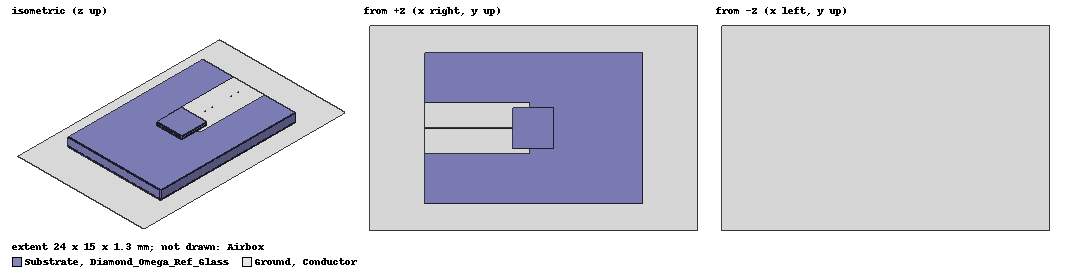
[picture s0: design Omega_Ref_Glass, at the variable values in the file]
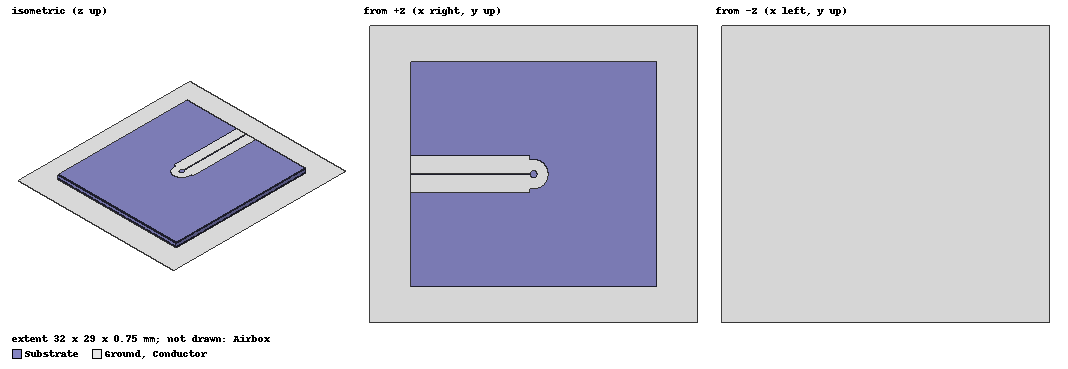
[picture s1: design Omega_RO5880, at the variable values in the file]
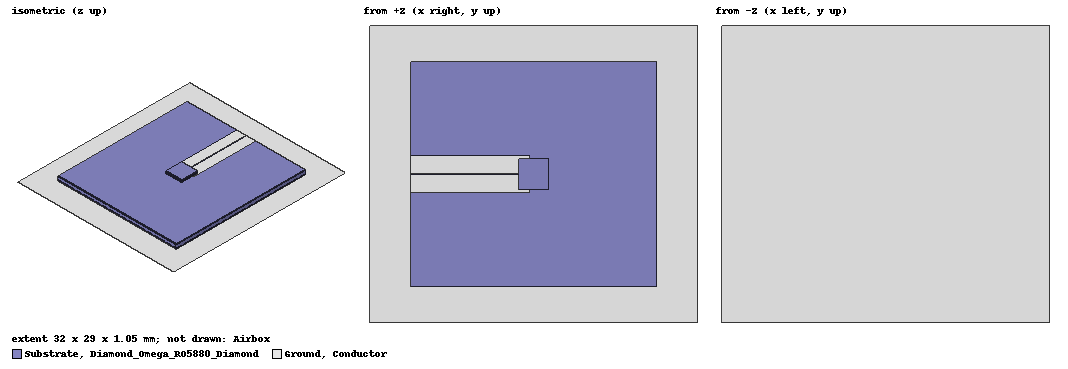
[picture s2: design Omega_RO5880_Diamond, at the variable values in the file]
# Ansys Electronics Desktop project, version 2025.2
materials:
  vacuum: permittivity=1
  sub_Omega_Ref_Glass: permittivity=4.82 permeability=1 dielectric_loss_tangent=0.005
  diamond_Omega_Ref_Glass: permittivity=5.7 permeability=1 dielectric_loss_tangent=1e-05
  air: permittivity=1.0006 permeability=1.0000004
  sub_Omega_RO5880: permittivity=2.2 permeability=1 dielectric_loss_tangent=0.0009
  sub_Omega_RO5880_Diamond: permittivity=2.2 permeability=1 dielectric_loss_tangent=0.0009
  diamond_Omega_RO5880_Diamond: permittivity=5.7 permeability=1 dielectric_loss_tangent=1e-05
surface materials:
  Steel-oxidised-surface

design Omega_Ref_Glass (HFSS, HFSS Modal Network, model units mm)
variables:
  h_sub = 1mm
  L_sub = 16mm
  W_sub = 11mm
  r_ap = 0.3mm
  r_w = 1.151mm
  g_w = 0.007mm
  f_w = 1.851mm
  airgap = 26mm
  L_gnd = 24mm
  W_gnd = 15mm
  dia_L_Omega_Ref_Glass = 3mm
  dia_W_Omega_Ref_Glass = 3mm
  dia_h_Omega_Ref_Glass = 0.3mm
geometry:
  Substrate [sub_Omega_Ref_Glass] = box(corner=(-L_sub/2, -W_sub/2, 0mm), size=(L_sub, W_sub, h_sub))
  Ground = rectangle(corner=(-L_gnd/2, -W_gnd/2, 0mm), x_size=L_gnd, y_size=W_gnd)
  Conductor = circle(normal=Z, centre=(0mm, 0mm, h_sub), radius=r_ap + r_w)
  Aperture = circle(normal=Z, centre=(0mm, 0mm, h_sub), radius=r_ap)
  Conductor.subtract(Aperture)
  Gap = rectangle(corner=(-(r_ap + r_w + 0.5mm), -g_w/2, h_sub), x_size=r_ap + r_w + 0.5mm, y_size=g_w)
  Conductor.subtract(Gap)
  Lead_top = rectangle(corner=(-L_sub/2, g_w/2, h_sub), x_size=L_sub/2 - r_ap, y_size=f_w)
  Lead_bot = rectangle(corner=(-L_sub/2, -g_w/2 - f_w, h_sub), x_size=L_sub/2 - r_ap, y_size=f_w)
  Conductor.unite(Lead_top, Lead_bot)
  Port1_sheet = rectangle(corner=(-L_sub/2, g_w/2, 0mm), y_size=f_w, z_size=h_sub)
  Port2_sheet = rectangle(corner=(-L_sub/2, -g_w/2 - f_w, 0mm), y_size=f_w, z_size=h_sub)
  Diamond_Omega_Ref_Glass [diamond_Omega_Ref_Glass] = box(corner=(-dia_L_Omega_Ref_Glass/2, -dia_W_Omega_Ref_Glass/2, h_sub), size=(dia_L_Omega_Ref_Glass, dia_W_Omega_Ref_Glass, dia_h_Omega_Ref_Glass))
  Mesh_Region_Gap [vacuum, non-model] = box(corner=(-(r_ap + r_w + 0.5mm), -(g_w/2 + 0.05mm), h_sub - 0.001mm), size=(r_ap + r_w + 0.5mm, g_w + 0.1mm, 0.001mm))
  Airbox [air] = box(corner=(-24.0mm/2-airgap, -15.0mm/2-airgap, -airgap), size=(24.0mm+2*airgap, 15.0mm+2*airgap, 3.3mm+2*airgap))
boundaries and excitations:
  PerfE_CWRVNR: Perfect E Objects=Ground
  PerfE_PH1K65: Perfect E Objects=Conductor
  Rad__8DQ7YN: Radiation Objects=Airbox
  Port1: Lumped Port Objects=Port1_sheet LumpedPortType=Modal Modes{Mode1{IntLine{(-8, 0.929, 0) -> (-8, 0.929, 1)} CharImp=Zpi RenormImp=50ohm}} Impedance=50ohm
  Port2: Lumped Port Objects=Port2_sheet LumpedPortType=Modal Modes{Mode1{IntLine{(-8, -0.929, 0) -> (-8, -0.929, 1)} CharImp=Zpi RenormImp=50ohm}} Impedance=50ohm
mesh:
  Mesh_Gap: LengthBased RefineInside Objects=Mesh_Region_Gap NumMaxElem=1000 MaxLength=g_w/3
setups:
  Setup1: HfssDriven Frequency=2.87GHz MaxDeltaS=0.02 MaximumPasses=20 MinimumPasses=1 MinimumConvergedPasses=1 PercentRefinement=30 BasisOrder=1 PortAccuracy=2 DrivenSolverType="Direct Solver"
    sweep Sweep1: 0.5GHz to 6GHz step 0.005GHz; Type=Interpolating SaveFields InterpTolerance=0.5 InterpMaxSolns=250 InterpUsePortImped=false PassivityErrorTolerance=0.0001
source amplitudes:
  Port1:1: 1W 0deg
  Port2:1: 0W 0deg

design Omega_RO5880 (HFSS, HFSS Modal Network, model units mm)
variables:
  h_sub = 0.75mm
  L_sub = 24mm
  W_sub = 22mm
  r_ap = 0.345mm
  r_w = 1.077mm  # optimise 0.5385mm..1.6155mm
  g_w = 0.15mm
  f_w = 1.7mm
  airgap = 26mm
  L_gnd = 32mm
  W_gnd = 29mm
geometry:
  Substrate [sub_Omega_RO5880] = box(corner=(-L_sub/2, -W_sub/2, 0mm), size=(L_sub, W_sub, h_sub))
  Ground = rectangle(corner=(-L_gnd/2, -W_gnd/2, 0mm), x_size=L_gnd, y_size=W_gnd)
  Conductor = circle(normal=Z, centre=(0mm, 0mm, h_sub), radius=r_ap + r_w)
  Aperture = circle(normal=Z, centre=(0mm, 0mm, h_sub), radius=r_ap)
  Conductor.subtract(Aperture)
  Gap = rectangle(corner=(-(r_ap + r_w + 0.5mm), -g_w/2, h_sub), x_size=r_ap + r_w + 0.5mm, y_size=g_w)
  Conductor.subtract(Gap)
  Lead_top = rectangle(corner=(-L_sub/2, g_w/2, h_sub), x_size=L_sub/2 - r_ap, y_size=f_w)
  Lead_bot = rectangle(corner=(-L_sub/2, -g_w/2 - f_w, h_sub), x_size=L_sub/2 - r_ap, y_size=f_w)
  Conductor.unite(Lead_top, Lead_bot)
  Port1_sheet = rectangle(corner=(-L_sub/2, g_w/2, 0mm), y_size=f_w, z_size=h_sub)
  Port2_sheet = rectangle(corner=(-L_sub/2, -g_w/2 - f_w, 0mm), y_size=f_w, z_size=h_sub)
  Mesh_Region_Gap [vacuum, non-model] = box(corner=(-(r_ap + r_w + 0.5mm), -(g_w/2 + 0.8999999999999999mm), h_sub - 0.001mm), size=(r_ap + r_w + 0.5mm, g_w + 1.7999999999999998mm, 0.001mm))
  Airbox [air] = box(corner=(-32.0mm/2-airgap, -29.0mm/2-airgap, -airgap), size=(32.0mm+2*airgap, 29.0mm+2*airgap, 2.75mm+2*airgap))
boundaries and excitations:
  PerfE_QMYNRJ: Perfect E Objects=Ground
  PerfE_H8CW3A: Perfect E Objects=Conductor
  Rad__0RP58G: Radiation Objects=Airbox
  Port1: Lumped Port Objects=Port1_sheet LumpedPortType=Modal Modes{Mode1{IntLine{(-12, 0.925, 0) -> (-12, 0.925, 0.75)} CharImp=Zpi RenormImp=50ohm}} Impedance=50ohm
  Port2: Lumped Port Objects=Port2_sheet LumpedPortType=Modal Modes{Mode1{IntLine{(-12, -0.925, 0) -> (-12, -0.925, 0.75)} CharImp=Zpi RenormImp=50ohm}} Impedance=50ohm
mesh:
  Mesh_Gap: LengthBased RefineInside Objects=Mesh_Region_Gap NumMaxElem=1000 MaxLength=g_w/3
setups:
  Setup1: HfssDriven Frequency=2.87GHz MaxDeltaS=0.02 MaximumPasses=20 MinimumPasses=1 MinimumConvergedPasses=1 PercentRefinement=30 BasisOrder=1 PortAccuracy=2 DrivenSolverType="Direct Solver"
    sweep Sweep1: 0.5GHz to 6GHz step 0.005GHz; Type=Interpolating SaveFields InterpTolerance=0.5 InterpMaxSolns=250 InterpUsePortImped=false PassivityErrorTolerance=0.0001
    sweep Sweep_Discrete_Zeeman: 2.5GHz to 3.2GHz step 0.02GHz; Type=Discrete SaveFields
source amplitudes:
  Port1:1: 1W 0deg
  Port2:1: 0W 0deg
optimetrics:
  Opt_rw_2p87GHz: Optimization Optimizer="Quasi Newton" AnalysisStopOptions{StopForNumIteration MaxNumIteration=1000 MinNumIteration=10} CostFuncNormType=L2 Acceptable_Cost=0 Noise=0.0001 UpdateDesignWhenDone
    vary r_w: Min=1.0mm Max=2.0mm MinStep=0.01mm MaxStep=0.1mm MinFocus=1.0mm MaxFocus=2.0mm start=1.2mm
    goal dB(S(Port1,Port1)) <= -40 weight 1 on Setup1 : Sweep1 at Freq 2.87GHz

design Omega_RO5880_Diamond (HFSS, HFSS Modal Network, model units mm)
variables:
  h_sub = 0.75mm
  L_sub = 24mm
  W_sub = 22mm
  r_ap = 0.345mm
  r_w = 1.077mm
  g_w = 0.15mm
  f_w = 1.7mm
  airgap = 26mm
  L_gnd = 32mm
  W_gnd = 29mm
  dia_L_Omega_RO5880_Diamond = 3mm
  dia_W_Omega_RO5880_Diamond = 3mm
  dia_h_Omega_RO5880_Diamond = 0.3mm
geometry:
  Substrate [sub_Omega_RO5880_Diamond] = box(corner=(-L_sub/2, -W_sub/2, 0mm), size=(L_sub, W_sub, h_sub))
  Ground = rectangle(corner=(-L_gnd/2, -W_gnd/2, 0mm), x_size=L_gnd, y_size=W_gnd)
  Conductor = circle(normal=Z, centre=(0mm, 0mm, h_sub), radius=r_ap + r_w)
  Aperture = circle(normal=Z, centre=(0mm, 0mm, h_sub), radius=r_ap)
  Conductor.subtract(Aperture)
  Gap = rectangle(corner=(-(r_ap + r_w + 0.5mm), -g_w/2, h_sub), x_size=r_ap + r_w + 0.5mm, y_size=g_w)
  Conductor.subtract(Gap)
  Lead_top = rectangle(corner=(-L_sub/2, g_w/2, h_sub), x_size=L_sub/2 - r_ap, y_size=f_w)
  Lead_bot = rectangle(corner=(-L_sub/2, -g_w/2 - f_w, h_sub), x_size=L_sub/2 - r_ap, y_size=f_w)
  Conductor.unite(Lead_top, Lead_bot)
  Port1_sheet = rectangle(corner=(-L_sub/2, g_w/2, 0mm), y_size=f_w, z_size=h_sub)
  Port2_sheet = rectangle(corner=(-L_sub/2, -g_w/2 - f_w, 0mm), y_size=f_w, z_size=h_sub)
  Diamond_Omega_RO5880_Diamond [diamond_Omega_RO5880_Diamond] = box(corner=(-dia_L_Omega_RO5880_Diamond/2, -dia_W_Omega_RO5880_Diamond/2, h_sub), size=(dia_L_Omega_RO5880_Diamond, dia_W_Omega_RO5880_Diamond, dia_h_Omega_RO5880_Diamond))
  Mesh_Region_Gap [vacuum, non-model] = box(corner=(-(r_ap + r_w + 0.5mm), -(g_w/2 + 0.8999999999999999mm), h_sub - 0.001mm), size=(r_ap + r_w + 0.5mm, g_w + 1.7999999999999998mm, 0.001mm))
  Airbox [air] = box(corner=(-32.0mm/2-airgap, -29.0mm/2-airgap, -airgap), size=(32.0mm+2*airgap, 29.0mm+2*airgap, 3.05mm+2*airgap))
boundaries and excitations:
  PerfE_NJCZ63: Perfect E Objects=Ground
  PerfE_MTM1JM: Perfect E Objects=Conductor
  Rad__0UBDE2: Radiation Objects=Airbox
  Port1: Lumped Port Objects=Port1_sheet LumpedPortType=Modal Modes{Mode1{IntLine{(-12, 0.925, 0) -> (-12, 0.925, 0.75)} CharImp=Zpi RenormImp=50ohm}} Impedance=50ohm
  Port2: Lumped Port Objects=Port2_sheet LumpedPortType=Modal Modes{Mode1{IntLine{(-12, -0.925, 0) -> (-12, -0.925, 0.75)} CharImp=Zpi RenormImp=50ohm}} Impedance=50ohm
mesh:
  Mesh_Gap: LengthBased RefineInside Objects=Mesh_Region_Gap NumMaxElem=1000 MaxLength=g_w/3
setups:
  Setup1: HfssDriven Frequency=2.87GHz MaxDeltaS=0.02 MaximumPasses=20 MinimumPasses=1 MinimumConvergedPasses=1 PercentRefinement=30 BasisOrder=1 PortAccuracy=2 DrivenSolverType="Direct Solver"
    sweep Sweep1: 0.5GHz to 6GHz step 0.005GHz; Type=Interpolating SaveFields InterpTolerance=0.5 InterpMaxSolns=250 InterpUsePortImped=false PassivityErrorTolerance=0.0001
    sweep Sweep_Discrete_Zeeman: 2.5GHz to 3.2GHz step 0.02GHz; Type=Discrete SaveFields
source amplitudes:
  Port1:1: 1W 0deg
  Port2:1: 0W 0deg
